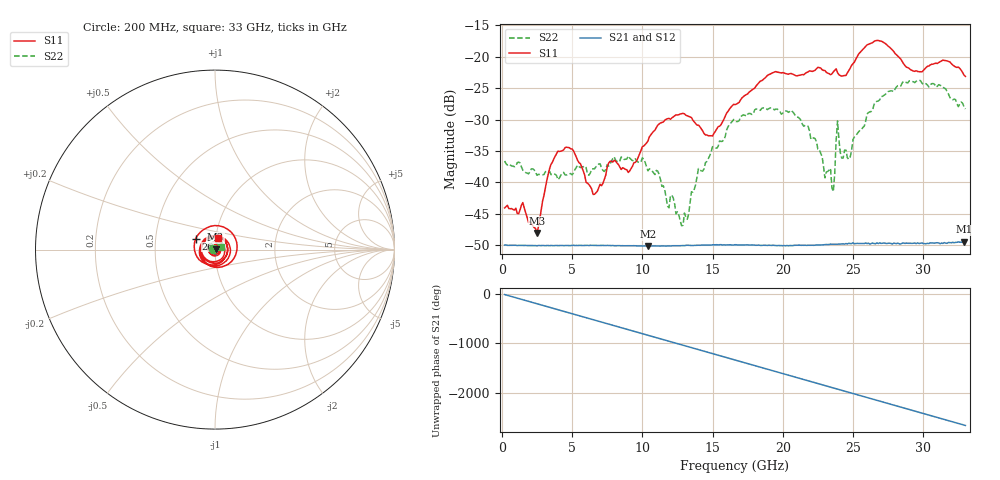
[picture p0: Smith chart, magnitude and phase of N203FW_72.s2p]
# GHZ S RI R 50
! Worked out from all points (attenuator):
!   329 points, 200 MHz to 33 GHz, reference 50 ohm
!   highest |S21| = -49.43 dB at 32.9 GHz (marker M1); lowest = -50.1 dB at 10.4 GHz (marker M2)
!   lowest |S11| = -48.0 dB at 2.5 GHz (marker M3), VSWR 1.01, Z = 50.4 + j0.184 ohm
!   |S11| at or under -10 dB: start of sweep to end of sweep
!   |S22| runs from -46.9 to -23.7 dB; largest |S21 - S12| = 8.8e-05
!   S11 on the Smith chart (normalised r, x): 200 MHz: 1.01, +0.00; 26 GHz: 0.80, +0.10; 33 GHz: 1.03, +0.14
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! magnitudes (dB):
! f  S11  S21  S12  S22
! 200 MHz  -44.1  -50.0  -49.9  -36.6
! 1.5 GHz  -43.2  -50.0  -50.0  -38.1
! 2.5 GHz  -48.0  -50.1  -50.0  -38.9
! 4 GHz  -35.0  -50.0  -50.0  -39.6
! 5.7 GHz  -37.6  -50.0  -50.0  -37.6
! 6.6 GHz  -41.9  -50.0  -50.0  -37.8
! 7.7 GHz  -36.7  -50.0  -50.0  -37.1
! 10.4 GHz  -33.4  -50.1  -50.1  -38.2
! 11.2 GHz  -30.7  -50.1  -50.1  -38.7
! 12.9 GHz  -29.0  -50.0  -50.1  -46.8
! 15 GHz  -32.6  -49.9  -49.9  -34.3
! 16.6 GHz  -27.6  -49.9  -49.9  -30.2
! 20.6 GHz  -22.7  -50.0  -50.0  -28.5
! 22.1 GHz  -22.3  -50.0  -50.0  -32.9
! 23.6 GHz  -22.4  -49.8  -49.8  -41.5
! 23.9 GHz  -22.6  -49.8  -49.8  -30.2
! 24.2 GHz  -23.1  -49.8  -49.7  -36.1
! 24.7 GHz  -22.2  -49.7  -49.8  -36.3
! 26 GHz  -18.1  -49.7  -49.7  -29.1
! 27.6 GHz  -18.5  -49.7  -49.7  -25.5
! 32.9 GHz  -22.9  -49.4  -49.4  -27.9
! 33 GHz  -23.1  -49.4  -49.5  -28.3
